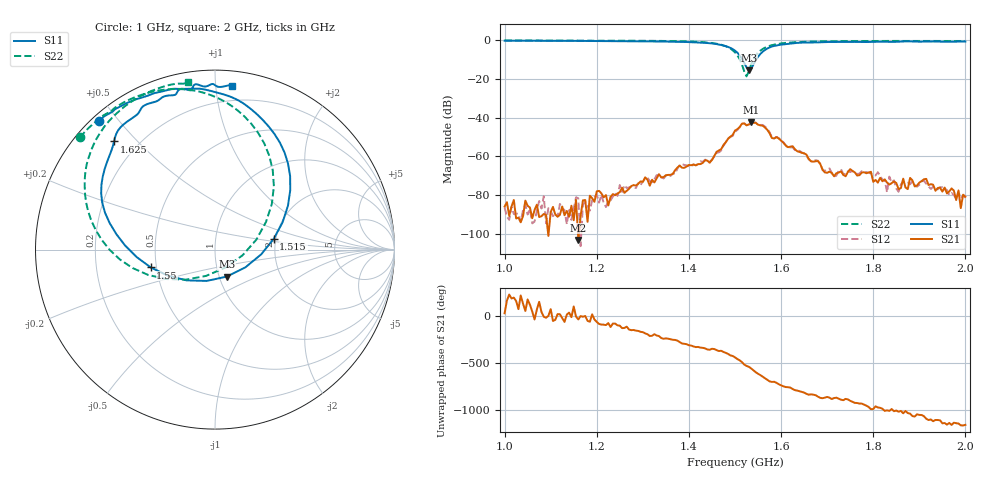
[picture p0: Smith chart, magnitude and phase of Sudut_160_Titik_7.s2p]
# Hz S RI R 50
! CMT, C1220, 16058040, 17.2.0/1
! Date: 14/08/2018 12:14:12
! Data: Format (Calibration Info)
! Freq  S11: Re/Im (F2)  S21: Re/Im (F2)  S12: Re/Im (F2)  S22: Re/Im (F2)
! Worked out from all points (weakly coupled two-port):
!   201 points, 1 GHz to 2 GHz, reference 50 ohm
!   highest |S21| = -42.44 dB at 1.535 GHz (marker M1); lowest = -103.2 dB at 1.16 GHz (marker M2)
!   lowest |S11| = -15.7 dB at 1.53 GHz (marker M3), VSWR 1.39, Z = 54.3 - j16.8 ohm
!   |S11| at or under -10 dB: 1.516 GHz to 1.546 GHz (30.19 MHz wide, 1.97 % of centre)
!   |S22| runs from -18.7 to -0.2 dB; largest |S21 - S12| = 0.00036
!   S11 on the Smith chart (normalised r, x): 1 GHz: 0.02, +0.44; 1.515 GHz: 1.95, +0.26; 1.55 GHz: 0.46, -0.11; 1.625 GHz: 0.11, +0.43; 2 GHz: 0.10, +1.11
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1e9  -0.647 0.7146  4.54e-05 2.08e-05  -2.55e-05 -3.98e-05  -0.7534 0.625
1.16e9  -0.4903 0.8169  5.23e-06 -4.49e-06  5.89e-05 -5.66e-05  -0.6272 0.7437
1.17e9  -0.4777 0.8223  7.08e-05 -1.53e-05  5.43e-05 -1.28e-05  -0.6166 0.7509
1.26e9  -0.3437 0.8698  -7.33e-05 -8.63e-05  -0.000112 -0.00014  -0.5223 0.8125
1.335e9  -0.2191 0.8957  -0.000278 0.000201  -0.000235 0.000219  -0.4001 0.8654
1.445e9  0.1551 0.8164  0.000679 -6.1e-06  0.000738 4.54e-06  -0.00862 0.8548
1.5e9  0.4192 0.3308  0.00077 -0.00453  0.000697 -0.00422  0.3281 0.3522
1.515e9  0.3268 0.0593  -0.00442 -0.00534  -0.00424 -0.00547  0.2306 0.0556
1.53e9  0.0657 -0.1505  -0.00658 -3.35e-05  -0.00667 -3.33e-05  -0.0495 -0.1464
1.535e9  -0.0468 -0.1746  -0.00722 0.0022  -0.0072 0.00218  -0.1626 -0.1674
1.55e9  -0.358 -0.0993  -0.00187 0.00626  -0.00213 0.00615  -0.4592 -0.1026
1.625e9  -0.5621 0.6025  0.00106 -0.00147  0.00104 -0.00134  -0.7011 0.5217
1.67e9  -0.4437 0.7446  -0.000289 -0.000664  -0.000279 -0.000699  -0.625 0.6729
1.715e9  -0.3626 0.8157  -0.00026 -0.000155  -0.000271 -0.000138  -0.5501 0.7573
1.795e9  -0.2114 0.876  -2.28e-05 0.000396  -0.000137 0.00033  -0.431 0.845
1.81e9  -0.1953 0.8941  -7.55e-05 0.000194  8.99e-05 0.000375  -0.4105 0.8575
1.83e9  -0.1539 0.8905  2.9e-05 0.000207  -4.65e-05 0.000107  -0.3832 0.8707
1.835e9  -0.144 0.8881  4.77e-05 0.000179  7.13e-05 0.000289  -0.3765 0.874
1.855e9  -0.1249 0.9024  5.59e-05 0.00013  5.23e-05 0.000109  -0.349 0.8857
1.865e9  -0.1172 0.9163  0.000169 0.000202  6.73e-05 0.000213  -0.335 0.8912
1.915e9  -0.03 0.917  0.000258 -3.16e-05  0.000188 -5.22e-05  -0.2647 0.9147
2e9  0.0959 0.9131  2.82e-05 -8.54e-05  3.88e-05 -7.59e-05  -0.1521 0.9329
